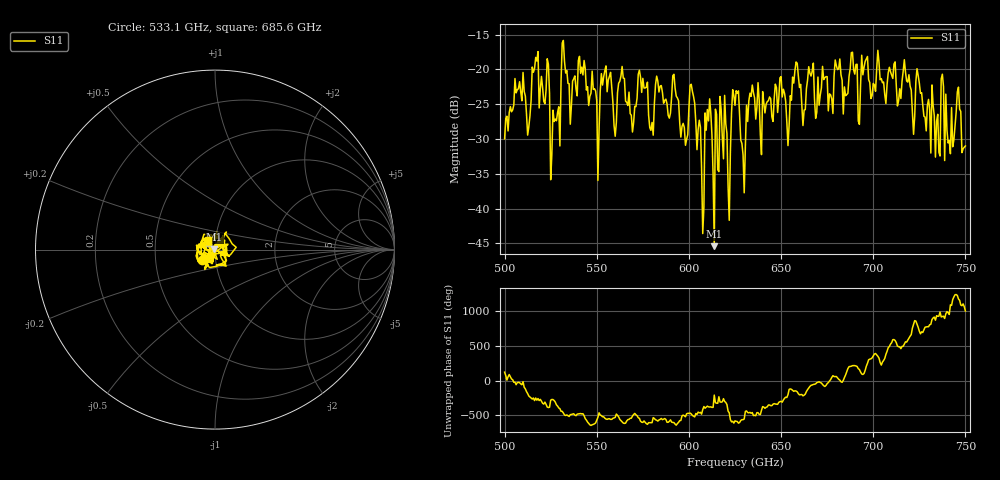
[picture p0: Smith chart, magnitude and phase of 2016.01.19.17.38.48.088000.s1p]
!Created with skrf (http://scikit-rf.org).
# GHz S RI R 50.0
!freq ReS11 ImS11
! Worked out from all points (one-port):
!   401 points, 500 GHz to 750 GHz, reference 50 ohm
!   lowest |S11| = -45.4 dB at 613.8 GHz (marker M1), VSWR 1.01, Z = 49.5 + j0.26 ohm
!   |S11| at or under -10 dB: start of sweep to end of sweep
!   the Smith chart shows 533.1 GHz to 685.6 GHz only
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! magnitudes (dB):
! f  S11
! 500 GHz  -30.0
! 506.9 GHz  -22.9
! 513.1 GHz  -28.3
! 516.9 GHz  -18.3
! 526.2 GHz  -25.9
! 531.2 GHz  -16.2
! 550.6 GHz  -35.9
! 553.8 GHz  -21.1
! 562.5 GHz  -21.7
! 579.4 GHz  -28.8
! 583.1 GHz  -21.7
! 593.8 GHz  -24.1
! 598.1 GHz  -30.9
! 601.9 GHz  -23.1
! 606.9 GHz  -34.2
! 610 GHz  -25.8
! 613.8 GHz  -45.4
! 618.1 GHz  -29.8
! 621.9 GHz  -41.7
! 625 GHz  -25.2
! 629.4 GHz  -32.3
! 633.8 GHz  -23.9
! 656.2 GHz  -21.1
! 687.5 GHz  -19.9
! 718.8 GHz  -21.8
! 735 GHz  -26.4
! 746.2 GHz  -22.5
! 750 GHz  -31.0
